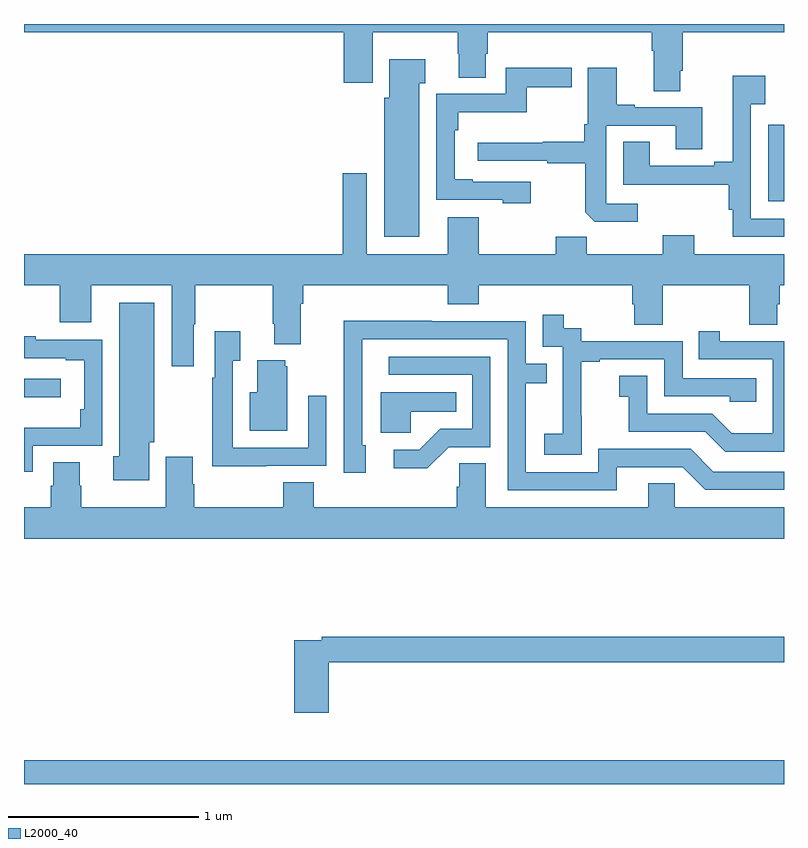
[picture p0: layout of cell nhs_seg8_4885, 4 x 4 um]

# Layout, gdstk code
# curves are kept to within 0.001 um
import gdstk
lib = gdstk.Library(unit=1e-6, precision=1e-09)
def R(c, l, rs):  # rectangles x0, y0, x1, y1
    for r in rs: c.add(gdstk.rectangle(r[:2], r[2:], *l))
def P(c, l, *ps):  # polygons
    for p in ps: c.add(gdstk.Polygon(p, *l))
L2000_40 = (2000, 40)

nhs_seg8_4885 = lib.new_cell('nhs_seg8_4885')
R(nhs_seg8_4885, L2000_40, [(407,1089.9,411,1090.024), (407,1091.936,407.194,1092.033), (410.916,1092.966,411,1093.369)])
P(nhs_seg8_4885, L2000_40, [(410.455,1093.654),(410.468,1093.654),(410.468,1093.856),(411,1093.856),(411,1093.9),(407,1093.9),(407,1093.856),(408.683,1093.856),(408.683,1093.59),(408.835,1093.59),(408.835,1093.856),(409.282,1093.856),(409.282,1093.743),(409.289,1093.743),(409.289,1093.618),(409.429,1093.618),(409.429,1093.743),(409.442,1093.743),(409.442,1093.856),(410.303,1093.856),(410.303,1093.76),(410.315,1093.76),(410.315,1093.546),(410.455,1093.546)],
  [(409.081,1093.589),(409.111,1093.589),(409.111,1093.714),(408.923,1093.714),(408.923,1093.512),(408.896,1093.512),(408.896,1092.779),(409.081,1092.779)],
  [(409.666,1093.071),(409.363,1093.071),(409.363,1093.084),(409.266,1093.084),(409.266,1093.34),(409.286,1093.34),(409.286,1093.436),(409.645,1093.436),(409.645,1093.567),(409.882,1093.567),(409.882,1093.67),(409.536,1093.67),(409.536,1093.533),(409.17,1093.533),(409.17,1092.975),(409.521,1092.975),(409.521,1092.956),(409.666,1092.956)],
  [(410.23,1092.954),(410.064,1092.954),(410.064,1093.365),(410.429,1093.365),(410.429,1093.24),(410.569,1093.24),(410.569,1093.461),(410.215,1093.461),(410.215,1093.474),(410.119,1093.474),(410.119,1093.669),(409.968,1093.669),(409.968,1093.372),(409.948,1093.372),(409.948,1093.28),(409.729,1093.28),(409.729,1093.276),(409.389,1093.276),(409.389,1093.179),(409.753,1093.179),(409.753,1093.167),(409.953,1093.167),(409.953,1092.909),(410.005,1092.858),(410.23,1092.858)],
  [(411,1092.876),(410.826,1092.876),(410.826,1093.478),(410.902,1093.478),(410.902,1093.627),(410.729,1093.627),(410.729,1093.175),(410.633,1093.175),(410.633,1093.155),(410.293,1093.155),(410.293,1093.28),(410.153,1093.28),(410.153,1093.054),(410.71,1093.054),(410.71,1092.923),(410.729,1092.923),(410.729,1092.78),(411,1092.78)],
  [(407,1092.524),(407.189,1092.524),(407.189,1092.33),(407.353,1092.33),(407.353,1092.524),(407.777,1092.524),(407.777,1092.099),(407.893,1092.099),(407.893,1092.32),(407.901,1092.32),(407.901,1092.524),(408.31,1092.524),(408.31,1092.322),(408.317,1092.322),(408.317,1092.215),(408.457,1092.215),(408.457,1092.428),(408.47,1092.428),(408.47,1092.524),(409.229,1092.524),(409.229,1092.425),(409.394,1092.425),(409.394,1092.524),(410.201,1092.524),(410.201,1092.426),(410.213,1092.426),(410.213,1092.316),(410.361,1092.316),(410.361,1092.524),(410.818,1092.524),(410.818,1092.316),(410.965,1092.316),(410.965,1092.426),(410.978,1092.426),(410.978,1092.524),(411,1092.524),(411,1092.688),(410.527,1092.688),(410.527,1092.787),(410.363,1092.787),(410.363,1092.688),(409.963,1092.688),(409.963,1092.781),(409.799,1092.781),(409.799,1092.688),(409.393,1092.688),(409.393,1092.883),(409.229,1092.883),(409.229,1092.688),(408.805,1092.688),(408.805,1093.114),(408.677,1093.114),(408.677,1092.688),(407,1092.688)],
  [(407.659,1091.7),(407.686,1091.7),(407.686,1092.433),(407.501,1092.433),(407.501,1091.624),(407.471,1091.624),(407.471,1091.498),(407.659,1091.498)],
  [(409.935,1091.839),(409.934,1091.839),(409.934,1092.123),(410.029,1092.123),(410.029,1092.135),(410.37,1092.135),(410.37,1091.94),(410.715,1091.94),(410.715,1091.913),(410.855,1091.913),(410.855,1092.036),(410.466,1092.036),(410.466,1092.231),(409.932,1092.231),(409.932,1092.3),(409.84,1092.3),(409.84,1092.37),(409.731,1092.37),(409.731,1092.201),(409.836,1092.201),(409.836,1091.972),(409.835,1091.972),(409.835,1091.743),(409.737,1091.743),(409.737,1091.633),(409.935,1091.633)],
  [(410.119,1091.568),(410.466,1091.568),(410.586,1091.448),(411,1091.448),(411,1091.544),(410.628,1091.544),(410.508,1091.664),(410.022,1091.664),(410.022,1091.541),(409.641,1091.541),(409.641,1092.01),(409.751,1092.01),(409.751,1092.111),(409.641,1092.111),(409.641,1092.336),(409.145,1092.336),(409.145,1092.338),(408.682,1092.338),(408.682,1092.031),(408.684,1092.031),(408.684,1091.538),(408.799,1091.538),(408.799,1091.682),(408.78,1091.682),(408.781,1092.24),(409.545,1092.24),(409.545,1091.445),(410.119,1091.445)],
  [(411,1092.231),(410.662,1092.231),(410.662,1092.283),(410.551,1092.283),(410.551,1092.135),(410.94,1092.135),(410.94,1091.746),(410.726,1091.746),(410.622,1091.85),(410.28,1091.85),(410.28,1092.049),(410.133,1092.049),(410.133,1091.939),(410.182,1091.939),(410.182,1091.754),(410.585,1091.754),(410.69,1091.649),(411,1091.649)],
  [(408.275,1091.574),(408.591,1091.574),(408.591,1091.944),(408.495,1091.944),(408.495,1091.67),(408.099,1091.67),(408.099,1092.127),(408.139,1092.127),(408.139,1092.283),(408.003,1092.283),(408.003,1092.038),(407.991,1092.038),(407.991,1091.573),(408.275,1091.573)],
  [(407.046,1091.679),(407.412,1091.679),(407.412,1092.237),(407.061,1092.237),(407.061,1092.256),(407,1092.256),(407,1092.141),(407.219,1092.141),(407.219,1092.129),(407.316,1092.129),(407.316,1091.872),(407.296,1091.872),(407.296,1091.776),(407,1091.776),(407,1091.543),(407.046,1091.543)],
  [(409.236,1091.673),(409.455,1091.673),(409.455,1092.15),(408.921,1092.15),(408.921,1092.054),(409.359,1092.054),(409.359,1091.769),(409.19,1091.769),(409.079,1091.658),(408.945,1091.658),(408.945,1091.561),(409.123,1091.561)],
  [(408.385,1092.099),(408.374,1092.099),(408.374,1092.13),(408.227,1092.13),(408.227,1091.962),(408.188,1091.962),(408.188,1091.759),(408.385,1091.759)],
  [(409.035,1091.858),(409.274,1091.858),(409.274,1091.962),(408.878,1091.962),(408.878,1091.75),(409.035,1091.75)],
  [(407.293,1091.469),(407.293,1091.594),(407.153,1091.594),(407.153,1091.469),(407.141,1091.469),(407.141,1091.356),(407,1091.356),(407,1091.192),(411,1091.192),(411,1091.356),(410.424,1091.356),(410.424,1091.483),(410.285,1091.483),(410.285,1091.356),(409.429,1091.356),(409.429,1091.588),(409.29,1091.588),(409.29,1091.465),(409.277,1091.465),(409.277,1091.356),(408.524,1091.356),(408.524,1091.489),(408.364,1091.489),(408.364,1091.356),(407.895,1091.356),(407.895,1091.477),(407.887,1091.477),(407.887,1091.623),(407.747,1091.623),(407.747,1091.356),(407.301,1091.356),(407.301,1091.469)],
  [(408.605,1090.54),(411,1090.54),(411,1090.676),(408.568,1090.676),(408.568,1090.656),(408.422,1090.656),(408.422,1090.275),(408.605,1090.275)])

lib.write_gds('nhs_seg8_4885.gds')
